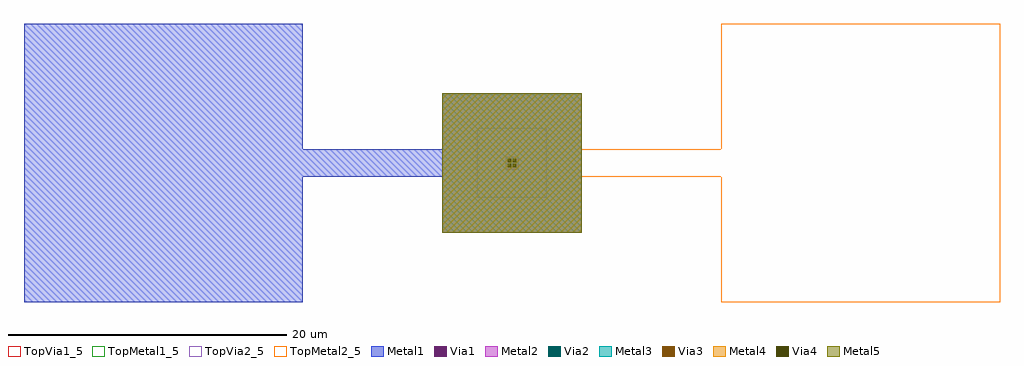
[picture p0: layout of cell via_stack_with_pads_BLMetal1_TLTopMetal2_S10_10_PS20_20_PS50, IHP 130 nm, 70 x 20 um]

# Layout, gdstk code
import gdstk
lib = gdstk.Library(unit=1e-6, precision=1e-09)
def R(c, l, rs):  # rectangles x0, y0, x1, y1
    for r in rs: c.add(gdstk.rectangle(r[:2], r[2:], *l))
Metal1 = (8, 0)
Metal2 = (10, 0)
Via1 = (19, 0)
Via2 = (29, 0)
Metal3 = (30, 0)
Via3 = (49, 0)
Metal4 = (50, 0)
Via4 = (66, 0)
Metal5 = (67, 0)
TopVia1_5 = (125, 5)
TopMetal1_5 = (126, 5)
TopVia2_5 = (133, 5)
TopMetal2_5 = (134, 5)

rectangle_gdsfactorypcom = lib.new_cell('rectangle_gdsfactorypcomponentspshapesprectangle_S10_10_b2c3398d')
R(rectangle_gdsfactorypcom, Metal1, [(-5,-5,5,5)])

c_rectangle_gdsfactorypcom = lib.new_cell('rectangle_gdsfactorypcomponentspshapesprectangle_S10_10_e4915001')
R(c_rectangle_gdsfactorypcom, Metal2, [(-5,-5,5,5)])

c_rectangle_gdsfactorypcom_ = lib.new_cell('rectangle_gdsfactorypcomponentspshapesprectangle_S10_10_14206746')
R(c_rectangle_gdsfactorypcom_, Metal3, [(-5,-5,5,5)])

c_rectangle_gdsfactorypcom__ = lib.new_cell('rectangle_gdsfactorypcomponentspshapesprectangle_S10_10_4a310be1')
R(c_rectangle_gdsfactorypcom__, Metal4, [(-5,-5,5,5)])

c_rectangle_gdsfactorypcom___ = lib.new_cell('rectangle_gdsfactorypcomponentspshapesprectangle_S10_10_6675e8df')
R(c_rectangle_gdsfactorypcom___, Metal5, [(-5,-5,5,5)])

c_rectangle_gdsfactorypcom____ = lib.new_cell('rectangle_gdsfactorypcomponentspshapesprectangle_S10_10_a9ba0d37')
R(c_rectangle_gdsfactorypcom____, TopMetal1_5, [(-5,-5,5,5)])

c_rectangle_gdsfactorypcom_____ = lib.new_cell('rectangle_gdsfactorypcomponentspshapesprectangle_S10_10_2bd4764c')
R(c_rectangle_gdsfactorypcom_____, TopMetal2_5, [(-5,-5,5,5)])

c_rectangle_gdsfactorypcom______ = lib.new_cell('rectangle_gdsfactorypcomponentspshapesprectangle_S0p26__62bba07c')
R(c_rectangle_gdsfactorypcom______, Via1, [(0,0,0.26,0.26)])

via_array_vtvia1_c2_r2_v = lib.new_cell('via_array_VTVia1_C2_R2_VS0p26_VS0p36_VE0p06')
via_array_vtvia1_c2_r2_v.add(gdstk.Reference(c_rectangle_gdsfactorypcom______, (0,0)))
via_array_vtvia1_c2_r2_v.add(gdstk.Reference(c_rectangle_gdsfactorypcom______, (0,0.36)))
via_array_vtvia1_c2_r2_v.add(gdstk.Reference(c_rectangle_gdsfactorypcom______, (0.36,0)))
via_array_vtvia1_c2_r2_v.add(gdstk.Reference(c_rectangle_gdsfactorypcom______, (0.36,0.36)))

c_rectangle_gdsfactorypcom_______ = lib.new_cell('rectangle_gdsfactorypcomponentspshapesprectangle_S0p26__263f9a51')
R(c_rectangle_gdsfactorypcom_______, Via2, [(0,0,0.26,0.26)])

via_array_vtvia2_c2_r2_v = lib.new_cell('via_array_VTVia2_C2_R2_VS0p26_VS0p36_VE0p06')
via_array_vtvia2_c2_r2_v.add(gdstk.Reference(c_rectangle_gdsfactorypcom_______, (0,0)))
via_array_vtvia2_c2_r2_v.add(gdstk.Reference(c_rectangle_gdsfactorypcom_______, (0,0.36)))
via_array_vtvia2_c2_r2_v.add(gdstk.Reference(c_rectangle_gdsfactorypcom_______, (0.36,0)))
via_array_vtvia2_c2_r2_v.add(gdstk.Reference(c_rectangle_gdsfactorypcom_______, (0.36,0.36)))

c_rectangle_gdsfactorypcom________ = lib.new_cell('rectangle_gdsfactorypcomponentspshapesprectangle_S0p26__9a272292')
R(c_rectangle_gdsfactorypcom________, Via3, [(0,0,0.26,0.26)])

via_array_vtvia3_c2_r2_v = lib.new_cell('via_array_VTVia3_C2_R2_VS0p26_VS0p36_VE0p06')
via_array_vtvia3_c2_r2_v.add(gdstk.Reference(c_rectangle_gdsfactorypcom________, (0,0)))
via_array_vtvia3_c2_r2_v.add(gdstk.Reference(c_rectangle_gdsfactorypcom________, (0,0.36)))
via_array_vtvia3_c2_r2_v.add(gdstk.Reference(c_rectangle_gdsfactorypcom________, (0.36,0)))
via_array_vtvia3_c2_r2_v.add(gdstk.Reference(c_rectangle_gdsfactorypcom________, (0.36,0.36)))

c_rectangle_gdsfactorypcom_________ = lib.new_cell('rectangle_gdsfactorypcomponentspshapesprectangle_S0p26__5d2f85ff')
R(c_rectangle_gdsfactorypcom_________, Via4, [(0,0,0.26,0.26)])

via_array_vtvia4_c2_r2_v = lib.new_cell('via_array_VTVia4_C2_R2_VS0p26_VS0p36_VE0p06')
via_array_vtvia4_c2_r2_v.add(gdstk.Reference(c_rectangle_gdsfactorypcom_________, (0,0)))
via_array_vtvia4_c2_r2_v.add(gdstk.Reference(c_rectangle_gdsfactorypcom_________, (0,0.36)))
via_array_vtvia4_c2_r2_v.add(gdstk.Reference(c_rectangle_gdsfactorypcom_________, (0.36,0)))
via_array_vtvia4_c2_r2_v.add(gdstk.Reference(c_rectangle_gdsfactorypcom_________, (0.36,0.36)))

c_rectangle_gdsfactorypcom__________ = lib.new_cell('rectangle_gdsfactorypcomponentspshapesprectangle_S0p9_0_6cee803d')
R(c_rectangle_gdsfactorypcom__________, TopVia1_5, [(0,0,0.9,0.9)])

via_array_vttopvia1_c1_r = lib.new_cell('via_array_VTTopVia1_C1_R1_VS0p9_VS0p9_VE0p3')
via_array_vttopvia1_c1_r.add(gdstk.Reference(c_rectangle_gdsfactorypcom__________, (0,0)))

c_rectangle_gdsfactorypcom___________ = lib.new_cell('rectangle_gdsfactorypcomponentspshapesprectangle_S5_5_L_5dd2977c')
R(c_rectangle_gdsfactorypcom___________, TopVia2_5, [(0,0,5,5)])

via_array_vttopvia2_c1_r = lib.new_cell('via_array_VTTopVia2_C1_R1_VS5_VS5_VE1')
via_array_vttopvia2_c1_r.add(gdstk.Reference(c_rectangle_gdsfactorypcom___________, (0,0)))

via_stack_blmetal1_tltop = lib.new_cell('via_stack_BLMetal1_TLTopMetal2_S10_10_VC2_VR2_VC1_VR1_VC1_VR1')
via_stack_blmetal1_tltop.add(gdstk.Reference(rectangle_gdsfactorypcom, (0,0)))
via_stack_blmetal1_tltop.add(gdstk.Reference(c_rectangle_gdsfactorypcom, (0,0)))
via_stack_blmetal1_tltop.add(gdstk.Reference(c_rectangle_gdsfactorypcom_, (0,0)))
via_stack_blmetal1_tltop.add(gdstk.Reference(c_rectangle_gdsfactorypcom__, (0,0)))
via_stack_blmetal1_tltop.add(gdstk.Reference(c_rectangle_gdsfactorypcom___, (0,0)))
via_stack_blmetal1_tltop.add(gdstk.Reference(c_rectangle_gdsfactorypcom____, (0,0)))
via_stack_blmetal1_tltop.add(gdstk.Reference(c_rectangle_gdsfactorypcom_____, (0,0)))
via_stack_blmetal1_tltop.add(gdstk.Reference(via_array_vtvia1_c2_r2_v, (-0.31,-0.31)))
via_stack_blmetal1_tltop.add(gdstk.Reference(via_array_vtvia2_c2_r2_v, (-0.31,-0.31)))
via_stack_blmetal1_tltop.add(gdstk.Reference(via_array_vtvia3_c2_r2_v, (-0.31,-0.31)))
via_stack_blmetal1_tltop.add(gdstk.Reference(via_array_vtvia4_c2_r2_v, (-0.31,-0.31)))
via_stack_blmetal1_tltop.add(gdstk.Reference(via_array_vttopvia1_c1_r, (-0.45,-0.45)))
via_stack_blmetal1_tltop.add(gdstk.Reference(via_array_vttopvia2_c1_r, (-2.5,-2.5)))

c_rectangle_gdsfactorypcom____________ = lib.new_cell('rectangle_gdsfactorypcomponentspshapesprectangle_S20_20_c7fdba7e')
R(c_rectangle_gdsfactorypcom____________, Metal1, [(-10,-10,10,10)])

c_rectangle_gdsfactorypcom_____________ = lib.new_cell('rectangle_gdsfactorypcomponentspshapesprectangle_S20_20_a2e1e971')
R(c_rectangle_gdsfactorypcom_____________, TopMetal2_5, [(-10,-10,10,10)])

c_rectangle_gdsfactorypcom______________ = lib.new_cell('rectangle_gdsfactorypcomponentspshapesprectangle_S20_2__d4eed011')
R(c_rectangle_gdsfactorypcom______________, Metal1, [(0,0,20,2)])

c_rectangle_gdsfactorypcom_______________ = lib.new_cell('rectangle_gdsfactorypcomponentspshapesprectangle_S20_2__0384bf42')
R(c_rectangle_gdsfactorypcom_______________, TopMetal2_5, [(0,0,20,2)])

via_stack_with_pads_blme = lib.new_cell('via_stack_with_pads_BLMetal1_TLTopMetal2_S10_10_PS20_20_PS50')
via_stack_with_pads_blme.add(gdstk.Reference(via_stack_blmetal1_tltop, (0,0)))
via_stack_with_pads_blme.add(gdstk.Reference(c_rectangle_gdsfactorypcom____________, (-25,0)))
via_stack_with_pads_blme.add(gdstk.Reference(c_rectangle_gdsfactorypcom_____________, (25,0)))
via_stack_with_pads_blme.add(gdstk.Reference(c_rectangle_gdsfactorypcom______________, (-25,-1)))
via_stack_with_pads_blme.add(gdstk.Reference(c_rectangle_gdsfactorypcom_______________, (5,-1)))

lib.write_gds('via_stack_with_pads_BLMetal1_TLTopMetal2_S10_10_PS20_20_PS50.gds')
